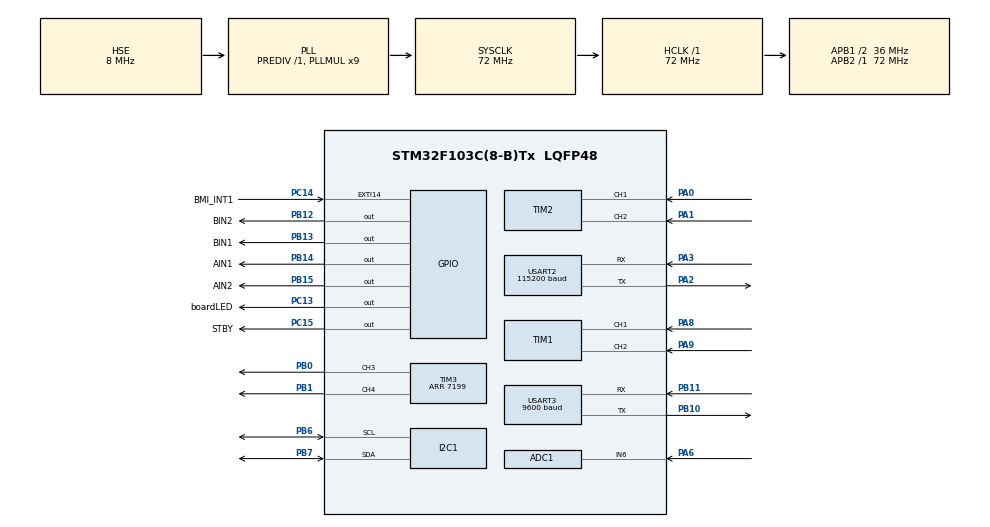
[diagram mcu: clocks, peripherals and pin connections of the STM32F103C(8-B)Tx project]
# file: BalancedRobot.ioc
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ADC1.Channel-3\#ChannelRegularConversion=ADC_CHANNEL_6
ADC1.NbrOfConversion=1
ADC1.NbrOfConversionFlag=1
ADC1.Rank-3\#ChannelRegularConversion=1
ADC1.SamplingTime-3\#ChannelRegularConversion=ADC_SAMPLETIME_13CYCLES_5
ADC1.master=1
Dma.Request0=USART3_TX
Dma.USART3_TX.0.Direction=DMA_MEMORY_TO_PERIPH
Dma.USART3_TX.0.Instance=DMA1_Channel2
Dma.USART3_TX.0.MemDataAlignment=DMA_MDATAALIGN_BYTE
Dma.USART3_TX.0.MemInc=DMA_MINC_ENABLE
Dma.USART3_TX.0.Mode=DMA_NORMAL
Dma.USART3_TX.0.PeriphDataAlignment=DMA_PDATAALIGN_BYTE
Dma.USART3_TX.0.PeriphInc=DMA_PINC_DISABLE
Dma.USART3_TX.0.Priority=DMA_PRIORITY_LOW
FREERTOS.Tasks01=defaultTask,8,128,StartDefaultTask,Default,NULL,Dynamic,NULL,NULL
FREERTOS.configENABLE_FPU=1
FREERTOS.configTOTAL_HEAP_SIZE=8192
Mcu.Family=STM32F1
Mcu.Name=STM32F103C(8-B)Tx
Mcu.Package=LQFP48
NVIC.DMA1_Channel2_IRQn=true\:4\:0\:true\:false\:true\:false\:false\:true\:true
NVIC.EXTI15_10_IRQn=true\:5\:0\:true\:false\:true\:true\:true\:true\:true
NVIC.PriorityGroup=NVIC_PRIORITYGROUP_4
NVIC.TIM4_IRQn=true\:15\:0\:false\:false\:true\:false\:false\:true\:true
NVIC.TimeBase=TIM4_IRQn
NVIC.TimeBaseIP=TIM4
NVIC.USART2_IRQn=true\:5\:0\:true\:false\:true\:true\:true\:true\:true
NVIC.USART3_IRQn=true\:5\:0\:true\:false\:true\:true\:true\:true\:true
PA0-WKUP.Signal=S_TIM2_CH1_ETR
PA1.Signal=S_TIM2_CH2
PA13.Mode=Serial_Wire
PA13.Signal=SYS_JTMS-SWDIO
PA14.Mode=Serial_Wire
PA14.Signal=SYS_JTCK-SWCLK
PA2.Mode=Asynchronous
PA2.Signal=USART2_TX
PA3.Mode=Asynchronous
PA3.Signal=USART2_RX
PA6.Signal=ADCx_IN6
PA8.Signal=S_TIM1_CH1
PA9.Signal=S_TIM1_CH2
PB0.Signal=S_TIM3_CH3
PB1.Signal=S_TIM3_CH4
PB10.Mode=Asynchronous
PB10.Signal=USART3_TX
PB11.Mode=Asynchronous
PB11.Signal=USART3_RX
PB12.GPIO_Label=BIN2
PB12.GPIO_Speed=GPIO_SPEED_FREQ_MEDIUM
PB12.Signal=GPIO_Output
PB13.GPIO_Label=BIN1
PB13.GPIO_Speed=GPIO_SPEED_FREQ_MEDIUM
PB13.Signal=GPIO_Output
PB14.GPIO_Label=AIN1
PB14.GPIO_Speed=GPIO_SPEED_FREQ_MEDIUM
PB14.Signal=GPIO_Output
PB15.GPIO_Label=AIN2
PB15.GPIO_Speed=GPIO_SPEED_FREQ_MEDIUM
PB15.Signal=GPIO_Output
PB6.Mode=I2C
PB6.Signal=I2C1_SCL
PB7.Mode=I2C
PB7.Signal=I2C1_SDA
PC13-TAMPER-RTC.GPIO_Label=boardLED
PC13-TAMPER-RTC.Signal=GPIO_Output
PC14-OSC32_IN.GPIO_Label=BMI_INT1
PC14-OSC32_IN.GPIO_ModeDefaultEXTI=GPIO_MODE_IT_FALLING
PC14-OSC32_IN.Signal=GPXTI14
PC15-OSC32_OUT.GPIO_Label=STBY
PC15-OSC32_OUT.Signal=GPIO_Output
PD0-OSC_IN.Mode=HSE-External-Oscillator
PD0-OSC_IN.Signal=RCC_OSC_IN
PD1-OSC_OUT.Mode=HSE-External-Oscillator
PD1-OSC_OUT.Signal=RCC_OSC_OUT
ProjectManager.HeapSize=0x200
ProjectManager.StackSize=0x600
ProjectManager.TargetToolchain=MDK-ARM V5.32
RCC.ADCPresc=RCC_ADCPCLK2_DIV6
RCC.AHBFreq_Value=72000000
RCC.APB1CLKDivider=RCC_HCLK_DIV2
RCC.APB1Freq_Value=36000000
RCC.APB1TimFreq_Value=72000000
RCC.APB2Freq_Value=72000000
RCC.APB2TimFreq_Value=72000000
RCC.HCLKFreq_Value=72000000
RCC.PLLMUL=RCC_PLL_MUL9
RCC.PLLSourceVirtual=RCC_PLLSOURCE_HSE
RCC.SYSCLKFreq_VALUE=72000000
RCC.SYSCLKSource=RCC_SYSCLKSOURCE_PLLCLK
RCC.USBFreq_Value=72000000
SH.ADCx_IN6.0=ADC1_IN6,IN6
SH.S_TIM1_CH1.0=TIM1_CH1,Encoder_Interface
SH.S_TIM1_CH2.0=TIM1_CH2,Encoder_Interface
SH.S_TIM2_CH1_ETR.0=TIM2_CH1,Encoder_Interface
SH.S_TIM2_CH2.0=TIM2_CH2,Encoder_Interface
SH.S_TIM3_CH3.0=TIM3_CH3,PWM Generation3 CH3
SH.S_TIM3_CH4.0=TIM3_CH4,PWM Generation4 CH4
TIM1.EncoderMode=TIM_ENCODERMODE_TI12
TIM1.IC1Filter=10
TIM1.IC2Filter=10
TIM2.EncoderMode=TIM_ENCODERMODE_TI12
TIM2.IC1Filter=10
TIM2.IC2Filter=10
TIM3.AutoReloadPreload=TIM_AUTORELOAD_PRELOAD_ENABLE
TIM3.Channel-PWM\ Generation3\ CH3=TIM_CHANNEL_3
TIM3.Channel-PWM\ Generation4\ CH4=TIM_CHANNEL_4
TIM3.Period=7199
USART2.BaudRate=115200
USART2.VirtualMode=VM_ASYNC
USART3.BaudRate=9600
USART3.VirtualMode=VM_ASYNC
VP_FREERTOS_VS_CMSIS_V2.Mode=CMSIS_V2
VP_SYS_VS_tim4.Mode=TIM4
VP_TIM3_VS_ClockSourceINT.Mode=Internal
board=custom

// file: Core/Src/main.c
/* USER CODE BEGIN Header */
/**
  ******************************************************************************
  * @file           : main.c
  * @brief          : Main program body
  ******************************************************************************
  * @attention
  *
  * Copyright (c) 2026 STMicroelectronics.
  * All rights reserved.
  *
  * This software is licensed under terms that can be found in the LICENSE file
  * in the root directory of this software component.
  * If no LICENSE file comes with this software, it is provided AS-IS.
  *
  ******************************************************************************
  */
/* USER CODE END Header */
#include "main.h"
#include "cmsis_os.h"
#include "adc.h"
#include "dma.h"
#include "i2c.h"
#include "tim.h"
#include "usart.h"
#include "gpio.h"

void SystemClock_Config(void);
void MX_FREERTOS_Init(void);

int main(void)
{

  /* MCU Configuration--------------------------------------------------------*/

  /* Reset of all peripherals, Initializes the Flash interface and the Systick. */
  HAL_Init();

  /* Configure the system clock */
  SystemClock_Config();

  /* Initialize all configured peripherals */
  MX_GPIO_Init();
  MX_DMA_Init();
  MX_I2C1_Init();
  MX_ADC1_Init();
  MX_TIM1_Init();
  MX_TIM2_Init();
  MX_TIM3_Init();
  MX_USART2_UART_Init();
  MX_USART3_UART_Init();
  /* USER CODE BEGIN 2 */
  HAL_ADCEx_Calibration_Start(&hadc1);
  /* USER CODE END 2 */

  /* Init scheduler */
  osKernelInitialize();  /* Call init function for freertos objects (in cmsis_os2.c) */
  MX_FREERTOS_Init();

  /* Start scheduler */
  osKernelStart();

  /* We should never get here as control is now taken by the scheduler */

  /* Infinite loop */
  while (1)
  {

  }
}

void SystemClock_Config(void)
{
  RCC_OscInitTypeDef RCC_OscInitStruct = {0};
  RCC_ClkInitTypeDef RCC_ClkInitStruct = {0};
  RCC_PeriphCLKInitTypeDef PeriphClkInit = {0};

  /** Initializes the RCC Oscillators according to the specified parameters
  * in the RCC_OscInitTypeDef structure.
  */
  RCC_OscInitStruct.OscillatorType = RCC_OSCILLATORTYPE_HSE;
  RCC_OscInitStruct.HSEState = RCC_HSE_ON;
  RCC_OscInitStruct.HSEPredivValue = RCC_HSE_PREDIV_DIV1;
  RCC_OscInitStruct.HSIState = RCC_HSI_ON;
  RCC_OscInitStruct.PLL.PLLState = RCC_PLL_ON;
  RCC_OscInitStruct.PLL.PLLSource = RCC_PLLSOURCE_HSE;
  RCC_OscInitStruct.PLL.PLLMUL = RCC_PLL_MUL9;
  if (HAL_RCC_OscConfig(&RCC_OscInitStruct) != HAL_OK)
  {
    Error_Handler();
  }

  /** Initializes the CPU, AHB and APB buses clocks
  */
  RCC_ClkInitStruct.ClockType = RCC_CLOCKTYPE_HCLK|RCC_CLOCKTYPE_SYSCLK
                              |RCC_CLOCKTYPE_PCLK1|RCC_CLOCKTYPE_PCLK2;
  RCC_ClkInitStruct.SYSCLKSource = RCC_SYSCLKSOURCE_PLLCLK;
  RCC_ClkInitStruct.AHBCLKDivider = RCC_SYSCLK_DIV1;
  RCC_ClkInitStruct.APB1CLKDivider = RCC_HCLK_DIV2;
  RCC_ClkInitStruct.APB2CLKDivider = RCC_HCLK_DIV1;

  if (HAL_RCC_ClockConfig(&RCC_ClkInitStruct, FLASH_LATENCY_2) != HAL_OK)
  {
    Error_Handler();
  }
  PeriphClkInit.PeriphClockSelection = RCC_PERIPHCLK_ADC;
  PeriphClkInit.AdcClockSelection = RCC_ADCPCLK2_DIV6;
  if (HAL_RCCEx_PeriphCLKConfig(&PeriphClkInit) != HAL_OK)
  {
    Error_Handler();
  }
}

void HAL_TIM_PeriodElapsedCallback(TIM_HandleTypeDef *htim)
{
  if (htim->Instance == TIM4)
  {
    HAL_IncTick();
  }
}

void Error_Handler(void)
{
  __disable_irq();
  while (1)
  {
  }
}

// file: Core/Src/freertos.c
/* USER CODE BEGIN Header */
/**
  ******************************************************************************
  * File Name          : freertos.c
  * Description        : Code for freertos applications
  ******************************************************************************
  * @attention
  *
  * Copyright (c) 2026 STMicroelectronics.
  * All rights reserved.
  *
  * This software is licensed under terms that can be found in the LICENSE file
  * in the root directory of this software component.
  * If no LICENSE file comes with this software, it is provided AS-IS.
  *
  ******************************************************************************
  */
/* USER CODE END Header */

#include "FreeRTOS.h"
#include "task.h"
#include "main.h"
#include "cmsis_os.h"

/* USER CODE BEGIN Includes */
#include "adc.h"
#include "semphr.h"
#include "event_groups.h"
#include "control.h"
#include "bmi160_wrapper.h"
#include "HighPerformanceTimer.h"
/* USER CODE END Includes */

/* USER CODE BEGIN Variables */

TaskHandle_t imuTaskHandle;
TaskHandle_t pidTaskHandle;
TaskHandle_t shellTaskHandle;

/* USER CODE END Variables */
/* Definitions for defaultTask */
osThreadId_t defaultTaskHandle;
const osThreadAttr_t defaultTask_attributes = {
  .name = "defaultTask",
  .stack_size = 128 * 4,
  .priority = (osPriority_t) osPriorityLow,
};

void StartDefaultTask(void *argument);

void MX_FREERTOS_Init(void); /* (MISRA C 2004 rule 8.1) */

void MX_FREERTOS_Init(void) {
  /* USER CODE BEGIN Init */
  DWT_Init();
  /* USER CODE END Init */

  /* USER CODE BEGIN RTOS_MUTEX */
  globalMutex = xSemaphoreCreateMutex();
  /* USER CODE END RTOS_MUTEX */

  /* USER CODE BEGIN RTOS_QUEUES */
  shellQueue = xQueueCreate(2, sizeof(SHELLMSG));
  /* USER CODE END RTOS_QUEUES */

  /* Create the thread(s) */
  /* creation of defaultTask */
  defaultTaskHandle = osThreadNew(StartDefaultTask, NULL, &defaultTask_attributes);

  /* USER CODE BEGIN RTOS_THREADS */
  xTaskCreate(imuTask, "IMU Task", 128, NULL, osPriorityNormal, &imuTaskHandle);
  xTaskCreate(pidTask, "PID Task", 128, NULL, osPriorityRealtime, &pidTaskHandle);
  xTaskCreate(shellTask, "Shell Task", 512, NULL, osPriorityBelowNormal, &shellTaskHandle);
  /* USER CODE END RTOS_THREADS */

  /* USER CODE BEGIN RTOS_EVENTS */
  eventGroup = xEventGroupCreate();
  /* USER CODE END RTOS_EVENTS */

}

void StartDefaultTask(void *argument)
{
  /* USER CODE BEGIN StartDefaultTask */

  if(BMI160_init() == 0)  // succeed
  {
    bmi160Gyro_Zero_Calibration(&imu_t);
    xEventGroupSetBits(eventGroup, EVENT_BMI160_INITIALIZED);
    HAL_GPIO_WritePin(STBY_GPIO_Port, STBY_Pin, GPIO_PIN_SET);  // enable STBY
    xEventGroupSetBits(eventGroup, EVENT_MOTOR_ENABLED);
  }

  /* Infinite loop */
  for(; ; )
  {
    HAL_GPIO_TogglePin(boardLED_GPIO_Port, boardLED_Pin);
    HAL_ADC_Start(&hadc1);
    HAL_StatusTypeDef status = HAL_ADC_PollForConversion(&hadc1, 5);
    if (HAL_OK == status)
    {
      uint16_t adc_value = HAL_ADC_GetValue(&hadc1);
      float vcc = adc_value * (3.3f * 11.f / 4095.f);
      xTaskNotify(shellTaskHandle, *(int*)(&vcc), eSetValueWithOverwrite);
      TickType_t delayTicks = 1 + (369U * (uint32_t)adc_value) / 500U;
      vTaskDelay(delayTicks);
    }
    else
      vTaskDelay(1000);
  }
  /* USER CODE END StartDefaultTask */
}

/* USER CODE BEGIN Application */
void HAL_GPIO_EXTI_Callback(uint16_t GPIO_Pin)
{
  if (xTaskGetSchedulerState() == taskSCHEDULER_RUNNING && GPIO_Pin == BMI_INT1_Pin)
  {
    BaseType_t xHigherPriorityTaskWoken = pdFALSE;
    xEventGroupSetBitsFromISR(eventGroup, EVENT_INTERRUPT_TRIGGERED, &xHigherPriorityTaskWoken);
    portYIELD_FROM_ISR(xHigherPriorityTaskWoken);
  }
}
/* USER CODE END Application */
